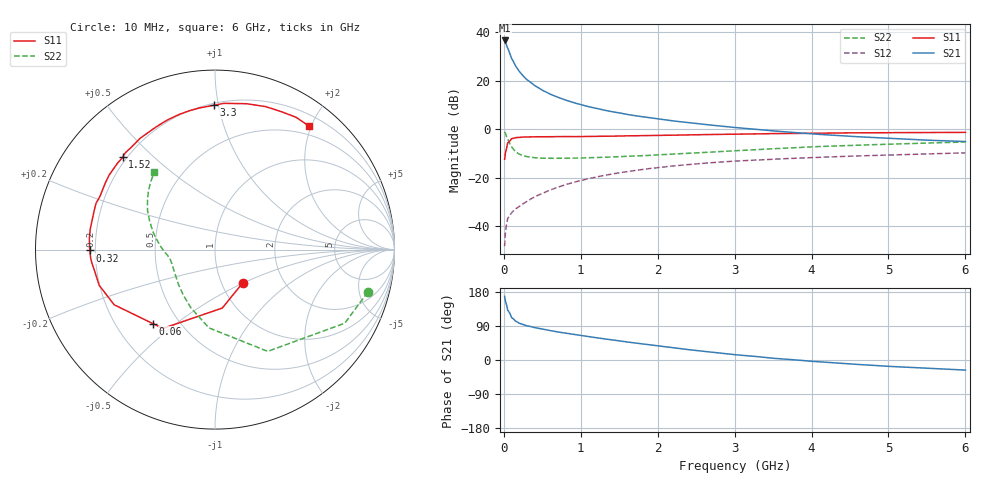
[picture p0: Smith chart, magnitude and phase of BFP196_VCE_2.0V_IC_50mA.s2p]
! Infineon Technologies  Discrete & RF Semiconductors
! BFP196
! VCE = 2.0 V,  IC =  50mA
! Common Emitter S-Parameters:  Jan 2016
# GHz  S  MA  R  50
!  f  S11  S21  S12  S22
! GHz  MAG  ANG  MAG  ANG  MAG  ANG  MAG  ANG
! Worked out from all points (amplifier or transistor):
!   210 points, 10 MHz to 6 GHz, reference 50 ohm
!   highest |S21| = 36.6 dB at 10 MHz (marker M1)
!   |S21| within 3 dB of that: start of sweep to 47.74 MHz
!   unconditionally stable (mu >= 1): 439.2 MHz to 4.462 GHz
!   at 185 MHz: K = 0.74, MSG = 28.4 dB, |S12| = -32.1 dB
!   at 1.52 GHz: K = 1.09, MAG = 10.4 dB, |S12| = -17.8 dB
!   at 6 GHz: K = 0.98, MSG = 2.3 dB, |S12| = -9.7 dB
!   S11 on the Smith chart (normalised r, x): 10 MHz: 1.25, -0.50; 60 MHz: 0.36, -0.42; 320 MHz: 0.18, -0.00; 1.52 GHz: 0.18, +0.40; 3.3 GHz: 0.21, +0.97; 6 GHz: 0.36, +1.96
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0.01  0.2417 -50.5  67.96 167.9  0.0039 79.9  0.8838 -15.5
0.02  0.3281 -82.9  63.21 155.8  0.0074 71.0  0.8315 -29.5
0.05  0.5268 -123.5  47.25 131.7  0.0145 54.9  0.6387 -62.6
0.06  0.538 -129.9  43.34 129.1  0.0154 53.3  0.587 -67.1
0.1  0.6403 -151.3  29.21 112.1  0.019 48.5  0.4373 -94.5
0.15  0.6749 -162.8  20.49 102.8  0.0227 48.9  0.3504 -112.7
0.2  0.6819 -170.2  15.71 97.1  0.0256 52.3  0.3089 -124.8
0.24  0.6905 -174.1  13.19 94.1  0.0285 54.1  0.2899 -132.1
0.3  0.6966 -178.3  10.55 90.2  0.0326 56.9  0.2739 -140.1
0.32  0.6971 -179.6  10.04 89.5  0.0341 57.7  0.2706 -141.8
0.4  0.7027 175.2  7.99 85.5  0.0404 60.2  0.2599 -149.1
0.5  0.7046 170.7  6.4 81.6  0.0477 62.0  0.2543 -155.1
0.6  0.7034 166.8  5.339 77.7  0.0558 62.6  0.2527 -159.1
0.8  0.7113 158.8  4.02 70.9  0.072 62.1  0.254 -164.6
1.02  0.7116 150.8  3.167 64.2  0.0894 60.9  0.2569 -168.6
1.52  0.7281 135.0  2.154 50.0  0.1285 54.9  0.2746 -175.3
2.02  0.7503 120.7  1.622 37.0  0.1635 47.6  0.2982 177.9
3.1  0.7965 94.3  1.057 12.4  0.2252 31.8  0.3678 162.1
3.3  0.8046 90.3  0.99 8.8  0.2337 28.9  0.3824 159.1
4.1  0.8331 76.3  0.787 -4.7  0.265 19.1  0.4415 148.5
5.1  0.8546 63.0  0.642 -17.7  0.299 7.8  0.4989 137.6
6  0.8649 52.9  0.56 -26.6  0.327 -2.2  0.5476 128.1
